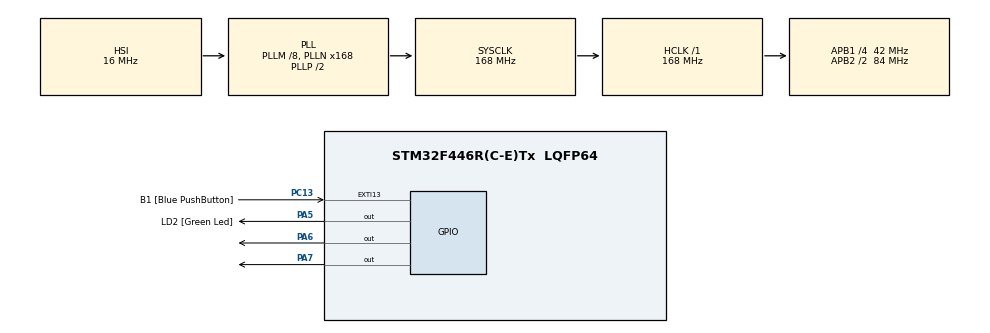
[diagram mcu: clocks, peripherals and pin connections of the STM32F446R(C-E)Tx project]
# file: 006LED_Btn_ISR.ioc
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Mcu.Family=STM32F4
Mcu.Name=STM32F446R(C-E)Tx
Mcu.Package=LQFP64
NVIC.EXTI15_10_IRQn=true\:6\:0\:true\:false\:true\:true\:true\:true
NVIC.PriorityGroup=NVIC_PRIORITYGROUP_4
NVIC.TIM6_DAC_IRQn=true\:15\:0\:false\:false\:true\:false\:true\:true
NVIC.TimeBase=TIM6_DAC_IRQn
NVIC.TimeBaseIP=TIM6
PA13.GPIO_Label=TMS
PA13.Signal=SYS_JTMS-SWDIO
PA14.GPIO_Label=TCK
PA14.Signal=SYS_JTCK-SWCLK
PA2.GPIO_Label=USART_TX
PA2.Signal=USART2_TX
PA3.GPIO_Label=USART_RX
PA3.Signal=USART2_RX
PA5.GPIO_Label=LD2 [Green Led]
PA5.Signal=GPIO_Output
PA6.Signal=GPIO_Output
PA7.Signal=GPIO_Output
PB3.GPIO_Label=SWO
PB3.Signal=SYS_JTDO-SWO
PC13.GPIO_Label=B1 [Blue PushButton]
PC13.GPIO_ModeDefaultEXTI=GPIO_MODE_IT_FALLING
PC13.Signal=GPXTI13
PC14-OSC32_IN.Signal=RCC_OSC32_IN
PC15-OSC32_OUT.Signal=RCC_OSC32_OUT
PH0-OSC_IN.Signal=RCC_OSC_IN
PH1-OSC_OUT.Signal=RCC_OSC_OUT
ProjectManager.HeapSize=0x200
ProjectManager.StackSize=0x400
ProjectManager.TargetToolchain=STM32CubeIDE
RCC.AHBFreq_Value=168000000
RCC.APB1CLKDivider=RCC_HCLK_DIV4
RCC.APB1Freq_Value=42000000
RCC.APB1TimFreq_Value=84000000
RCC.APB2CLKDivider=RCC_HCLK_DIV2
RCC.APB2Freq_Value=84000000
RCC.APB2TimFreq_Value=168000000
RCC.CortexFreq_Value=168000000
RCC.FLatency-AdvancedSettings=FLASH_LATENCY_5
RCC.HCLKFreq_Value=168000000
RCC.HSE_VALUE=8000000
RCC.HSI_VALUE=16000000
RCC.LSE_VALUE=32768
RCC.PLLM=8
RCC.PLLN=168
RCC.SYSCLKFreq_VALUE=168000000
RCC.SYSCLKSource=RCC_SYSCLKSOURCE_PLLCLK
RCC.USBFreq_Value=168000000
RCC.VCOOutputFreq_Value=336000000
VP_SYS_VS_tim6.Mode=TIM6
board=NUCLEO-F446RE

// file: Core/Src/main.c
/* USER CODE BEGIN Header */
/**
  ******************************************************************************
  * @file           : main.c
  * @brief          : Main program body
  ******************************************************************************
  * @attention
  *
  * Copyright (c) 2026 STMicroelectronics.
  * All rights reserved.
  *
  * This software is licensed under terms that can be found in the LICENSE file
  * in the root directory of this software component.
  * If no LICENSE file comes with this software, it is provided AS-IS.
  *
  ******************************************************************************
  */
/* USER CODE END Header */
#include "main.h"

/* USER CODE BEGIN Includes */

#include "FreeRTOS.h"
#include "task.h"
/* USER CODE END Includes */

/* USER CODE BEGIN PV */
#define DWT_CTRL    (*(volatile uint32_t*)0xE0001000)
/* USER CODE END PV */

void SystemClock_Config(void);
static void MX_GPIO_Init(void);
/* USER CODE BEGIN PFP */
static void led_green_handler(void* parameters);
static void led_orange_handler(void* parameters);
static void led_red_handler(void* parameters);

extern  void SEGGER_UART_init(uint32_t);

TaskHandle_t ledg_task_handle;
TaskHandle_t ledo_task_handle;
TaskHandle_t ledr_task_handle;
TaskHandle_t btn_task_handle;

TaskHandle_t volatile next_task_handle = NULL;

/* USER CODE END PFP */

int main(void)
{

  /* USER CODE BEGIN 1 */
	BaseType_t status;
  /* USER CODE END 1 */

  /* MCU Configuration--------------------------------------------------------*/

  /* Reset of all peripherals, Initializes the Flash interface and the Systick. */
  HAL_Init();

  /* Configure the system clock */
  SystemClock_Config();

  /* Initialize all configured peripherals */
  MX_GPIO_Init();
  /* USER CODE BEGIN 2 */
  //Enable the CYCCNT counter.
  DWT_CTRL |= ( 1 << 0);

  SEGGER_SYSVIEW_Conf();

  SEGGER_UART_init(500000);

  //SEGGER_SYSVIEW_Start();

  status = xTaskCreate(led_green_handler, "LED_green_task", 200, NULL, 3, &ledg_task_handle);

  configASSERT(status == pdPASS);

  next_task_handle = ledg_task_handle;

  status = xTaskCreate(led_orange_handler, "LED_orange_task", 200, NULL, 2, &ledo_task_handle);

  configASSERT(status == pdPASS);

  status = xTaskCreate(led_red_handler, "LED_red_task", 200,NULL, 1, &ledr_task_handle);

  configASSERT(status == pdPASS);

  //start the freeRTOS scheduler
  vTaskStartScheduler();

     //if the control comes here, then the launch of the scheduler has failed due to
     //insufficient memory in heap
  /* USER CODE END 2 */

  /* Infinite loop */
  while (1)
  {

  }
}

void SystemClock_Config(void)
{
  RCC_OscInitTypeDef RCC_OscInitStruct = {0};
  RCC_ClkInitTypeDef RCC_ClkInitStruct = {0};

  /** Configure the main internal regulator output voltage
  */
  __HAL_RCC_PWR_CLK_ENABLE();
  __HAL_PWR_VOLTAGESCALING_CONFIG(PWR_REGULATOR_VOLTAGE_SCALE1);

  /** Initializes the RCC Oscillators according to the specified parameters
  * in the RCC_OscInitTypeDef structure.
  */
  RCC_OscInitStruct.OscillatorType = RCC_OSCILLATORTYPE_HSI;
  RCC_OscInitStruct.HSIState = RCC_HSI_ON;
  RCC_OscInitStruct.HSICalibrationValue = RCC_HSICALIBRATION_DEFAULT;
  RCC_OscInitStruct.PLL.PLLState = RCC_PLL_ON;
  RCC_OscInitStruct.PLL.PLLSource = RCC_PLLSOURCE_HSI;
  RCC_OscInitStruct.PLL.PLLM = 8;
  RCC_OscInitStruct.PLL.PLLN = 168;
  RCC_OscInitStruct.PLL.PLLP = RCC_PLLP_DIV2;
  RCC_OscInitStruct.PLL.PLLQ = 2;
  RCC_OscInitStruct.PLL.PLLR = 2;
  if (HAL_RCC_OscConfig(&RCC_OscInitStruct) != HAL_OK)
  {
    Error_Handler();
  }

  /** Initializes the CPU, AHB and APB buses clocks
  */
  RCC_ClkInitStruct.ClockType = RCC_CLOCKTYPE_HCLK|RCC_CLOCKTYPE_SYSCLK
                              |RCC_CLOCKTYPE_PCLK1|RCC_CLOCKTYPE_PCLK2;
  RCC_ClkInitStruct.SYSCLKSource = RCC_SYSCLKSOURCE_PLLCLK;
  RCC_ClkInitStruct.AHBCLKDivider = RCC_SYSCLK_DIV1;
  RCC_ClkInitStruct.APB1CLKDivider = RCC_HCLK_DIV4;
  RCC_ClkInitStruct.APB2CLKDivider = RCC_HCLK_DIV2;

  if (HAL_RCC_ClockConfig(&RCC_ClkInitStruct, FLASH_LATENCY_5) != HAL_OK)
  {
    Error_Handler();
  }
}

static void MX_GPIO_Init(void)
{
  GPIO_InitTypeDef GPIO_InitStruct = {0};

  /* GPIO Ports Clock Enable */
  __HAL_RCC_GPIOC_CLK_ENABLE();
  __HAL_RCC_GPIOH_CLK_ENABLE();
  __HAL_RCC_GPIOA_CLK_ENABLE();
  __HAL_RCC_GPIOB_CLK_ENABLE();

  /*Configure GPIO pin Output Level */
  HAL_GPIO_WritePin(GPIOA, LD2_Pin|GPIO_PIN_6|GPIO_PIN_7, GPIO_PIN_RESET);

  /*Configure GPIO pin : B1_Pin */
  GPIO_InitStruct.Pin = B1_Pin;
  GPIO_InitStruct.Mode = GPIO_MODE_IT_FALLING;
  GPIO_InitStruct.Pull = GPIO_NOPULL;
  HAL_GPIO_Init(B1_GPIO_Port, &GPIO_InitStruct);

  /*Configure GPIO pins : USART_TX_Pin USART_RX_Pin */
  GPIO_InitStruct.Pin = USART_TX_Pin|USART_RX_Pin;
  GPIO_InitStruct.Mode = GPIO_MODE_AF_PP;
  GPIO_InitStruct.Pull = GPIO_NOPULL;
  GPIO_InitStruct.Speed = GPIO_SPEED_FREQ_VERY_HIGH;
  GPIO_InitStruct.Alternate = GPIO_AF7_USART2;
  HAL_GPIO_Init(GPIOA, &GPIO_InitStruct);

  /*Configure GPIO pins : LD2_Pin PA6 PA7 */
  GPIO_InitStruct.Pin = LD2_Pin|GPIO_PIN_6|GPIO_PIN_7;
  GPIO_InitStruct.Mode = GPIO_MODE_OUTPUT_PP;
  GPIO_InitStruct.Pull = GPIO_NOPULL;
  GPIO_InitStruct.Speed = GPIO_SPEED_FREQ_LOW;
  HAL_GPIO_Init(GPIOA, &GPIO_InitStruct);

  /* EXTI interrupt init*/
  HAL_NVIC_SetPriority(EXTI15_10_IRQn, 6, 0);
  HAL_NVIC_EnableIRQ(EXTI15_10_IRQn);

}

/* USER CODE BEGIN 4 */
void button_interrupt_handler(void)
{
	BaseType_t pxHigherPriorityTaskWoken;

	pxHigherPriorityTaskWoken = pdFALSE;

	traceISR_ENTER();
	xTaskNotifyFromISR(next_task_handle,0,eNoAction,&pxHigherPriorityTaskWoken);

	/* once the ISR exits, the below macro makes higher priority task which got unblocked to resume on the CPU */
	portYIELD_FROM_ISR(pxHigherPriorityTaskWoken);

	traceISR_EXIT();

}

static void led_green_handler(void* parameters)
{
	BaseType_t  status;
		while(1)
		{
			SEGGER_SYSVIEW_PrintfTarget("Toggling green LED");
			HAL_GPIO_TogglePin(GPIOA, LD2_Pin);
			status = xTaskNotifyWait(0,0,NULL,pdMS_TO_TICKS(1000));
			if(status == pdTRUE){
				portENTER_CRITICAL();
				next_task_handle = ledo_task_handle;
				HAL_GPIO_WritePin(GPIOA, LD2_Pin,GPIO_PIN_SET);
				SEGGER_SYSVIEW_PrintfTarget("Delete green LED task");
				portEXIT_CRITICAL();
				vTaskDelete(NULL);
			}

		}

}

static void led_orange_handler(void* parameters)
{
	BaseType_t  status;

		while(1)
		{
			SEGGER_SYSVIEW_PrintfTarget("Toggling orange LED");
			HAL_GPIO_TogglePin(GPIOA, GPIO_PIN_6 );
			status = xTaskNotifyWait(0,0,NULL,pdMS_TO_TICKS(800));
			if(status == pdTRUE){
				portENTER_CRITICAL();
				next_task_handle = ledr_task_handle;
				HAL_GPIO_WritePin(GPIOA, GPIO_PIN_6,GPIO_PIN_SET);
				SEGGER_SYSVIEW_PrintfTarget("Delete orange LED task");
				portEXIT_CRITICAL();
				vTaskDelete(NULL);
			}

		}

}

static void led_red_handler(void* parameters)
{
	BaseType_t  status;

		while(1)
		{
			SEGGER_SYSVIEW_PrintfTarget("Toggling red LED");
			HAL_GPIO_TogglePin(GPIOA, GPIO_PIN_7);
			status = xTaskNotifyWait(0,0,NULL,pdMS_TO_TICKS(400));
			if(status == pdTRUE){
				portENTER_CRITICAL();
				next_task_handle = NULL;
				HAL_GPIO_WritePin(GPIOA, GPIO_PIN_7,GPIO_PIN_SET);
				SEGGER_SYSVIEW_PrintfTarget("Delete red LED task");
				portEXIT_CRITICAL();
				vTaskDelete(NULL);
			}

		}

}

/* USER CODE END 4 */

void HAL_TIM_PeriodElapsedCallback(TIM_HandleTypeDef *htim)
{
  if (htim->Instance == TIM6)
  {
    HAL_IncTick();
  }
}

void Error_Handler(void)
{
  __disable_irq();
  while (1)
  {
  }
}
